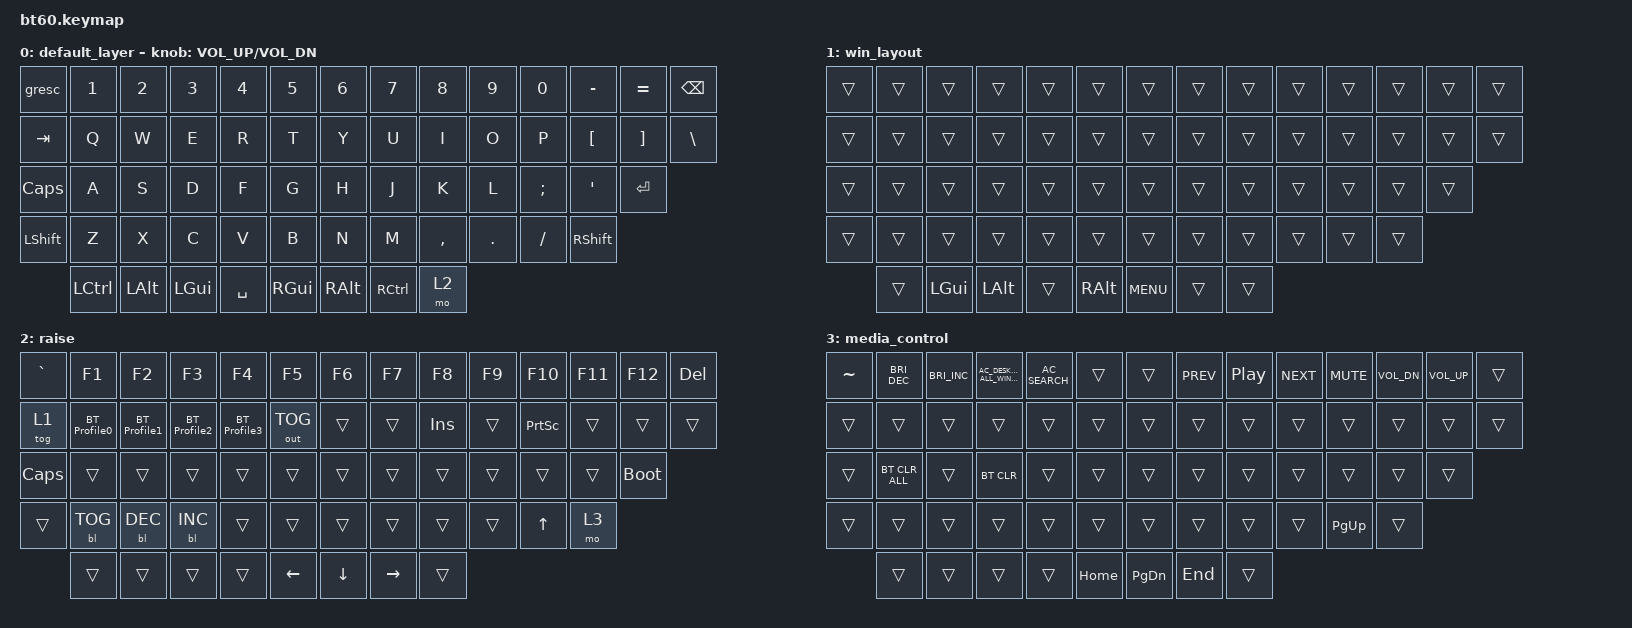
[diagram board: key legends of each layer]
#include <behaviors.dtsi>
#include <dt-bindings/zmk/backlight.h>
#include <dt-bindings/zmk/bt.h>
#include <dt-bindings/zmk/keys.h>
#include <dt-bindings/zmk/outputs.h>

// makes it possible to hold backspace

&lt {
    quick_tap_ms = <200>;
    flavor = "tap-preferred";
};

&soft_off {
    hold-time-ms = <2000>; // Only turn off it the key is held for 2 seconds or longer.
};

/ {
    macros {
         BT_Profile0: BT_Profile0 {
            compatible = "zmk,behavior-macro";
            #binding-cells = <0>;
            bindings =
                <&bt BT_DISC 0 &bt BT_DISC 1 &bt BT_DISC 2 &bt BT_DISC 3>,
                <&macro_wait_time 700>,
                <&bt BT_SEL 0>;

            label = "BT_PROFILE0";
        };

        BT_Profile1: BT_Profile1 {
            compatible = "zmk,behavior-macro";
            #binding-cells = <0>;
            bindings =
                <&bt BT_DISC 0 &bt BT_DISC 1 &bt BT_DISC 2 &bt BT_DISC 3>,
                <&macro_wait_time 700>,
                <&bt BT_SEL 1>;

            label = "BT_PROFILE1";
        };

        BT_Profile2: BT_Profile2 {
            compatible = "zmk,behavior-macro";
            #binding-cells = <0>;
            bindings =
                <&bt BT_DISC 0 &bt BT_DISC 1 &bt BT_DISC 2 &bt BT_DISC 3>,
                <&macro_wait_time 700>,
                <&bt BT_SEL 2>;

            label = "BT_PROFILE2";
        };

        BT_Profile3: BT_prifile3 {
            compatible = "zmk,behavior-macro";
            #binding-cells = <0>;
            bindings =
                <&bt BT_DISC 0 &bt BT_DISC 1 &bt BT_DISC 2 &bt BT_DISC 3>,
                <&macro_wait_time 700>,
                <&bt BT_SEL 3>;

            label = "BT_PRIFILE3";
        };
    };

    keymap {
        compatible = "zmk,keymap";

        default_layer {
            // ------------------------------------------------------------------------------------------
            // |  `  |  1  |  2  |  3  |  4  |  5  |  6  |  7  |  8  |  9  |  0  |  -  |  =  |   BKSP
            // | TAB  |  Q  |  W  |  E  |  R  |  T  |  Y  |  U  |  I  |  O  |  P  |  [  |  ]  |   |
            // | CAPS  |  A  |  S  |  D  |  F  |  G  |  H  |  J  |  K  |  L  |  ;  |  '  |     ENTER
            // |  SHIFT    |  Z  |  X  |  C  |  V  |  B  |  N  |  M  |  ,  |  .  | /   |      SHIFT
            // |  CTL  |  WIN  |  ALT  |            SPACE               | ALT | 1    |  MENU    |  CTRL
            // ------------------------------------------------------------------------------------------

            bindings = <
&gresc     &kp N1     &kp N2    &kp N3    &kp N4     &kp N5    &kp N6    &kp N7     &kp N8     &kp N9   &kp N0    &kp MINUS  &kp EQUAL  &kp BSPC
&kp TAB    &kp Q      &kp W     &kp E     &kp R      &kp T     &kp Y     &kp U      &kp I      &kp O    &kp P     &kp LBKT   &kp RBKT   &kp BSLH
&kp CAPS   &kp A      &kp S     &kp D     &kp F      &kp G     &kp H     &kp J      &kp K      &kp L    &kp SEMI  &kp SQT    &kp RET
&kp LSHFT  &kp Z      &kp X     &kp C     &kp V      &kp B     &kp N     &kp M      &kp COMMA  &kp DOT  &kp FSLH  &kp RSHFT
           &kp LCTRL  &kp LALT  &kp LGUI  &kp SPACE  &kp RGUI  &kp RALT  &kp RCTRL  &mo 2
            >;

            sensor-bindings = <&inc_dec_kp C_VOL_UP C_VOL_DN>;
        };

        win_layout {
            bindings = <
&trans  &trans  &trans    &trans    &trans  &trans    &trans      &trans  &trans  &trans  &trans  &trans  &trans  &trans
&trans  &trans  &trans    &trans    &trans  &trans    &trans      &trans  &trans  &trans  &trans  &trans  &trans  &trans
&trans  &trans  &trans    &trans    &trans  &trans    &trans      &trans  &trans  &trans  &trans  &trans  &trans
&trans  &trans  &trans    &trans    &trans  &trans    &trans      &trans  &trans  &trans  &trans  &trans
        &trans  &kp LGUI  &kp LALT  &trans  &kp RALT  &kp C_MENU  &trans  &trans
            >;
        };

        raise {
            bindings = <
&kp GRAVE  &kp F1        &kp F2        &kp F3        &kp F4        &kp F5        &kp F6    &kp F7     &kp F8   &kp F9  &kp F10    &kp F11  &kp F12      &kp DEL
&tog 1     &BT_Profile0  &BT_Profile1  &BT_Profile2  &BT_Profile3  &out OUT_TOG  &trans    &trans     &kp INS  &trans  &kp PSCRN  &trans   &trans       &trans
&kp CAPS   &trans        &trans        &trans        &trans        &trans        &trans    &trans     &trans   &trans  &trans     &trans   &bootloader
&trans     &bl BL_TOG    &bl BL_DEC    &bl BL_INC    &trans        &trans        &trans    &trans     &trans   &trans  &kp UP     &mo 3
           &trans        &trans        &trans        &trans        &kp LEFT      &kp DOWN  &kp RIGHT  &trans
            >;
        };

        media_control {
            bindings = <
&kp TILDE  &kp C_BRI_DEC   &kp C_BRI_INC  &kp C_AC_DESKTOP_SHOW_ALL_WINDOWS  &kp C_AC_SEARCH  &trans    &trans     &kp C_PREV  &kp C_PLAY_PAUSE  &kp C_NEXT  &kp C_MUTE  &kp C_VOL_DN  &kp C_VOL_UP  &trans
&trans     &trans          &trans         &trans                             &trans           &trans    &trans     &trans      &trans            &trans      &trans      &trans        &trans        &trans
&trans     &bt BT_CLR_ALL  &trans         &bt BT_CLR                         &trans           &trans    &trans     &trans      &trans            &trans      &trans      &trans        &trans
&trans     &trans          &trans         &trans                             &trans           &trans    &trans     &trans      &trans            &trans      &kp PG_UP   &trans
           &trans          &trans         &trans                             &trans           &kp HOME  &kp PG_DN  &kp END     &trans
            >;
        };
    };
};
